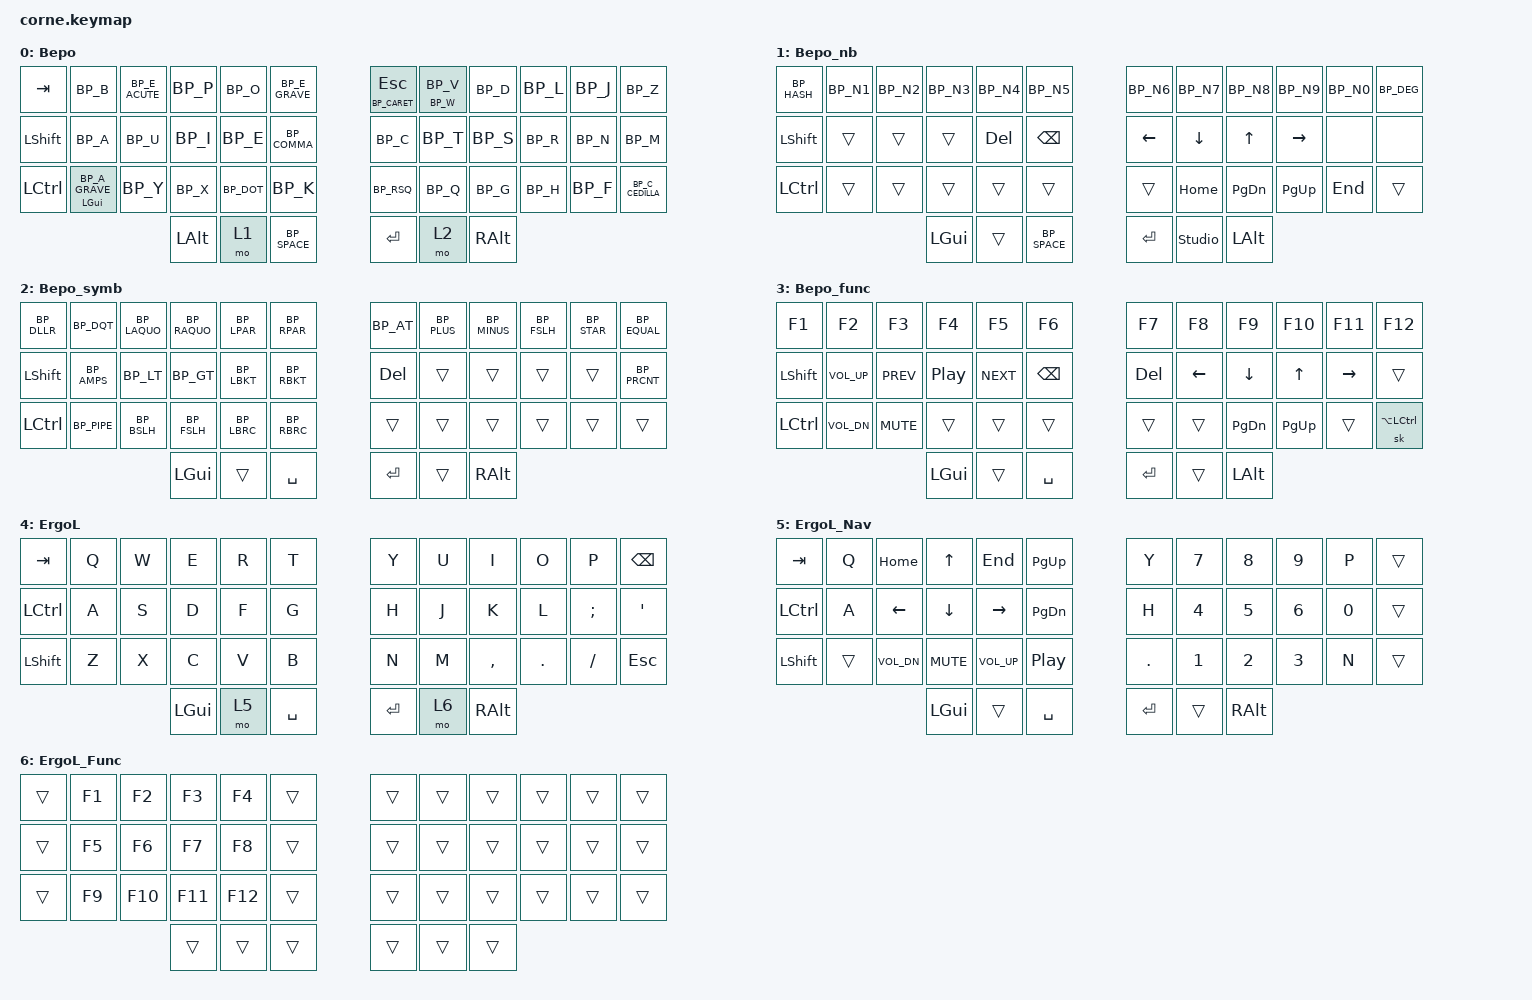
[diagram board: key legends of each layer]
/*
 * Copyright (c) 2020 The ZMK Contributors
 *
 * SPDX-License-Identifier: MIT
 */

#include <behaviors.dtsi>
#include <dt-bindings/zmk/keys.h>
#include <dt-bindings/zmk/bt.h>
#include "keys_fr_bepo.h"


/ {
    macros {
      ctrl_alt: ctrl_alt {
        compatible = "zmk,behavior-macro";
        #binding-cells = <0>;
        bindings
          = <&sk LCTRL &sk LALT>;
      };
    };

    combos {
        compatible = "zmk,combos";
        combo_ {
            timeout-ms = <50>;
            key-positions = <36 41>;
            bindings = <&tog 4>;
        };
    };

    behaviors {
      hm: homerow-mods {
        compatible = "zmk,behavior-hold-tap";
        #binding-cells = <2>;
        tapping-term-ms = <175>;
        flavor = "tap-preferred";
        quick-tap-ms = <125>;
        global-quick-tap;
        bindings = <&kp>,<&kp>;
      };

      slt: spacebar_layer_tap {
        compatible = "zmk,behavior-hold-tap";
        #binding-cells = <2>;
        flavor = "balanced";
        tapping-term-ms = <175>;
        require-prior-idle-ms = <100>;
        bindings = <&mo>, <&kp>;
      };


        mhm: lgui_mods {
            compatible = "zmk,behavior-hold-tap";
            #binding-cells = <2>;
            flavor = "balanced";
            tapping-term-ms = <200>;
            quick-tap-ms = <200>; // Double tapping -> hold key
            require-prior-idle-ms = <100>;  
            bindings = <&kp>, <&kp>;
        };
    };

    conditional-layers {
      compatible = "zmk,conditional-layers";
      tri_layer {
        if-layers = <1 2>;
        then-layer = <3>;
      };
    };

    keymap {
      compatible = "zmk,keymap";

      Bepo {
// ╭──────┬─────┬─────┬─────┬─────┬─────╮   ╭─────┬─────┬─────┬─────┬─────┬─────╮
// │  TAB │  B  │  É  │  P  │  O  │  È  │   │^ ESC│ V W │  D  │  L  │  J  │  Z  │
// ├──────┼─────┼─────┼─────┼─────┼─────┤   ├─────┼─────┼─────┼─────┼─────┼─────┤
// │ SHFT │  A  │  U  │  I  │  E  │  ,  │   │  C  │  T  │  S  │  R  │  N  │  M  │
// ├──────┼─────┼─────┼─────┼─────┼─────┤   ├─────┼─────┼─────┼─────┼─────┼─────┤
// │ CTRL │  À  │  Y  │  X  │  .  │  K  │   │  '  │  Q  │  G  │  H  │  F  │  Ç  │
// ╰──────┴─────┴─────┼─────┼─────┼─────┤   ├─────┼─────┼─────┼─────┴─────┴─────╯
//                    │LALT │LGUI │ SPC │   │ ENT │ RSE │RALT │
//                    ╰─────┴─────┴─────╯   ╰─────┴─────┴─────╯
         bindings = <
   &kp TAB   &kp BP_B             &kp BP_E_ACUTE &kp BP_P &kp BP_O     &kp BP_E_GRAVE     &mt BP_CARET ESC &hm BP_W BP_V &kp BP_D &kp BP_L &kp BP_J &kp BP_Z
   &kp LSHFT &kp BP_A             &kp BP_U       &kp BP_I &kp BP_E     &kp BP_COMMA       &kp BP_C         &kp BP_T      &kp BP_S &kp BP_R &kp BP_N &kp BP_M
   &kp LCTRL &mhm LGUI BP_A_GRAVE &kp BP_Y       &kp BP_X &kp BP_DOT   &kp BP_K           &kp BP_RSQ       &kp BP_Q      &kp BP_G &kp BP_H &kp BP_F &kp BP_C_CEDILLA
                                                 &kp LALT &mo 1        &kp BP_SPACE       &kp RET          &mo 2         &kp RALT
         >;
      };

      Bepo_nb{
// ╭──────┬─────┬─────┬─────┬─────┬─────╮   ╭─────┬─────┬─────┬─────┬─────┬─────╮
// │  #   │  1  │  2  │  3  │  4  │  5  │   │  6  │  7  │  8  │  9  │  0  │  °  │
// ├──────┼─────┼─────┼─────┼─────┼─────┤   ├─────┼─────┼─────┼─────┼─────┼─────┤
// │ SHFT │     │     │     │ DEL │ BKSP│   │LEFT │DOWN │ UP  │ RGT │  `  │     │
// ├──────┼─────┼─────┼─────┼─────┼─────┤   ├─────┼─────┼─────┼─────┼─────┼─────┤
// │ CTRL │     │     │     │     │     │   │     │HOME │ PDN │ PUP │ END │     │
// ╰──────┴─────┴─────┼─────┼─────┼─────┤   ├─────┼─────┼─────┼─────┴─────┴─────╯
//                    │ GUI │     │ SPC │   │ ENT │     │LALT │
//                    ╰─────┴─────┴─────╯   ╰─────┴─────┴─────╯
        bindings = <
   &kp BP_HASH &kp BP_N1 &kp BP_N2 &kp BP_N3 &kp BP_N4  &kp BP_N5        &kp BP_N6 &kp BP_N7 &kp BP_N8 &kp BP_N9 &kp BP_N0 &kp BP_DEG
   &kp LSHFT   &trans    &trans    &trans    &kp DEL    &kp BSPC         &kp LEFT  &kp DOWN  &kp UP    &kp RIGHT &none     &none
   &kp LCTRL   &trans    &trans    &trans    &trans     &trans           &trans    &kp HOME  &kp PG_DN &kp PG_UP &kp END   &trans
                                 &kp LGUI    &trans     &kp BP_SPACE     &kp RET   &studio_unlock  &kp LALT
        >;
      };

      Bepo_symb{
// ╭──────┬─────┬─────┬─────┬─────┬─────╮   ╭─────┬─────┬─────┬─────┬─────┬─────╮
// │  $   │  "  │  «  │  »  │  (  │  )  │   │  @  │  +  │  -  │  /  │  *  │  =  │
// ├──────┼─────┼─────┼─────┼─────┼─────┤   ├─────┼─────┼─────┼─────┼─────┼─────┤
// │ SHFT │  &  │  <  │  >  │  [  │  ]  │   │ DEL │     │     │     │     │  %  │
// ├──────┼─────┼─────┼─────┼─────┼─────┤   ├─────┼─────┼─────┼─────┼─────┼─────┤
// │ CTRL │  |  │  \  │  /  │  {  │  }  │   │     │     │     │     │     │     │
// ╰──────┴─────┴─────┼─────┼─────┼─────┤   ├─────┼─────┼─────┼─────┴─────┴─────╯
//                    │LGUI │     │ SPC │   │ ENT │     │ ALT │
//                    ╰─────┴─────┴─────╯   ╰─────┴─────┴─────╯
        bindings = <
   &kp BP_DLLR &kp BP_DQT  &kp BP_LAQUO &kp BP_RAQUO &kp BP_LPAR &kp BP_RPAR    &kp BP_AT &kp BP_PLUS &kp BP_MINUS &kp BP_FSLH &kp BP_STAR &kp BP_EQUAL
   &kp LSHFT   &kp BP_AMPS &kp BP_LT    &kp BP_GT    &kp BP_LBKT &kp BP_RBKT    &kp DEL   &trans      &trans       &trans      &trans      &kp BP_PRCNT
   &kp LCTRL   &kp BP_PIPE &kp BP_BSLH  &kp BP_FSLH  &kp BP_LBRC &kp BP_RBRC    &trans    &trans      &trans       &trans      &trans      &trans
                                        &kp LGUI     &trans      &kp SPACE      &kp RET   &trans      &kp RALT
        >;
      };

      Bepo_func{
// ╭──────┬─────┬─────┬─────┬─────┬─────╮   ╭─────┬─────┬─────┬─────┬─────┬─────╮
// │  F1  │  F2 │  F3 │  F4 │ F5  │  F6 │   │  F7 │  F8 │  F9 │ F10 │ F11 │ F12 │
// ├──────┼─────┼─────┼─────┼─────┼─────┤   ├─────┼─────┼─────┼─────┼─────┼─────┤
// │ SHFT │v up │prev │pause│next │ BKSP│   │ DEL │LEFT │DOWN │ UP  │ RGT │     │
// ├──────┼─────┼─────┼─────┼─────┼─────┤   ├─────┼─────┼─────┼─────┼─────┼─────┤
// │ CTRL │v dn │mute │     │     │     │   │     │     │ PDN │ PUP │     │CALT │
// ╰──────┴─────┴─────┼─────┼─────┼─────┤   ├─────┼─────┼─────┼─────┴─────┴─────╯
//                    │LGUI │     │ SPC │   │ ENT │     │ ALT │
//                    ╰─────┴─────┴─────╯   ╰─────┴─────┴─────╯
        bindings = <
   &kp F1    &kp F2       &kp F3     &kp F4   &kp F5     &kp F6        &kp F7  &kp F8   &kp F9    &kp F10   &kp F11   &kp F12
   &kp LSHFT &kp C_VOL_UP &kp C_PREV &kp C_PP &kp C_NEXT &kp BSPC      &kp DEL &kp LEFT &kp DOWN  &kp UP    &kp RIGHT &trans
   &kp LCTRL &kp C_VOL_DN &kp C_MUTE &trans   &trans     &trans        &trans  &trans   &kp PG_DN &kp PG_UP &trans    &sk LA(LCTRL)
                                     &kp LGUI &trans     &kp SPACE     &kp RET &trans   &kp LALT
        >;
    };

    ErgoL {
// ╭──────┬─────┬─────┬─────┬─────┬─────╮   ╭─────┬─────┬─────┬─────┬─────┬─────╮
// │ TAB  │  Q  │  C  │  O  │  P  │  W  │   │  J  │  M  │  D  │  !  │  Y  │BSPC │
// ├──────┼─────┼─────┼─────┼─────┼─────┤   ├─────┼─────┼─────┼─────┼─────┼─────┤
// │ ESC  │  A  │  S  │  E  │  N  │  F  │   │  L  │  R  │  T  │  I  │  U  │ ENT │
// ├──────┼─────┼─────┼─────┼─────┼─────┤   ├─────┼─────┼─────┼─────┼─────┼─────┤
// │ SHFT │  Z  │  X  │  ?  │  V  │  B  │   │  :  │  H  │  G  │  ;  │  K  │SHFT │
// ╰──────┴─────┴─────┼─────┼─────┼─────┤   ├─────┼─────┼─────┼─────┴─────┴─────╯
//                    │LALT │ CTRL│LGUI │   │     │ SPC │RALT │
//                    ╰─────┴─────┴─────╯   ╰─────┴─────┴─────╯
      bindings = <
   &kp TAB   &kp Q &kp W &kp E    &kp R &kp T          &kp Y   &kp U  &kp I     &kp O   &kp P    &kp BSPC
   &kp LCTRL &kp A &kp S &kp D    &kp F &kp G          &kp H   &kp J  &kp K     &kp L   &kp SEMI &kp SQT
   &kp LSHFT &kp Z &kp X &kp C    &kp V &kp B          &kp N   &kp M  &kp COMMA &kp DOT &kp FSLH &kp ESC
                         &kp LGUI &mo 5 &kp SPACE      &kp RET &mo 6  &kp RALT
        >;
    };

    ErgoL_Nav {
// ╭──────┬─────┬─────┬─────┬─────┬─────╮   ╭─────┬─────┬─────┬─────┬─────┬─────╮
// │      │     │HOME │ UP  │ END │PGUP │   │  Y  │  7  │  8  │  9  │     │     │
// ├──────┼─────┼─────┼─────┼─────┼─────┤   ├─────┼─────┼─────┼─────┼─────┼─────┤
// │      │     │LEFT │DOWN │RIGHT│PGDN │   │  H  │  4  │  5  │  6  │  0  │     │
// ├──────┼─────┼─────┼─────┼─────┼─────┤   ├─────┼─────┼─────┼─────┼─────┼─────┤
// │      │     │VOL- │MUTE │VOL+ │PL-P │   │  ,  │  1  │  2  │  3  │  .  │     │
// ╰──────┴─────┴─────┼─────┼─────┼─────┤   ├─────┼─────┼─────┼─────┴─────┴─────╯
//                    │ GUI │     │ SPC │   │ ENT │     │ ALT │
//                    ╰─────┴─────┴─────╯   ╰─────┴─────┴─────╯
      bindings = <
   &kp TAB   &kp Q  &kp HOME     &kp UP     &kp END      &kp PG_UP      &kp Y   &kp N7 &kp N8 &kp N9 &kp P   &trans
   &kp LCTRL &kp A  &kp LEFT     &kp DOWN   &kp RIGHT    &kp PG_DN      &kp H   &kp N4 &kp N5 &kp N6 &kp N0  &trans
   &kp LSHFT &trans &kp C_VOL_DN &kp C_MUTE &kp C_VOL_UP &kp C_PP       &kp DOT &kp N1 &kp N2 &kp N3 &kp N   &trans
                                 &kp LGUI   &trans       &kp SPACE      &kp RET &trans &kp RALT
        >;
    };

    ErgoL_Func {
// ╭──────┬─────┬─────┬─────┬─────┬─────╮   ╭─────┬─────┬─────┬─────┬─────┬─────╮
// │      │ F1  │ F2  │ F3  │ F4  │     │   │     │     │     │     │     │     │
// ├──────┼─────┼─────┼─────┼─────┼─────┤   ├─────┼─────┼─────┼─────┼─────┼─────┤
// │      │ F5  │ F6  │ F7  │ F8  │     │   │     │     │     │     │     │     │
// ├──────┼─────┼─────┼─────┼─────┼─────┤   ├─────┼─────┼─────┼─────┼─────┼─────┤
// │      │ F9  │ F10 │ F11 │ F12 │     │   │     │     │     │     │     │     │
// ╰──────┴─────┴─────┼─────┼─────┼─────┤   ├─────┼─────┼─────┼─────┴─────┴─────╯
//                    │ GUI │     │ SPC │   │ ENT │     │ ALT │
//                    ╰─────┴─────┴─────╯   ╰─────┴─────┴─────╯
      bindings = <
   &trans &kp F1 &kp F2  &kp F3  &kp F4  &trans    &trans &trans &trans &trans &trans &trans
   &trans &kp F5 &kp F6  &kp F7  &kp F8  &trans    &trans &trans &trans &trans &trans &trans
   &trans &kp F9 &kp F10 &kp F11 &kp F12 &trans    &trans &trans &trans &trans &trans &trans
                         &trans  &trans  &trans    &trans &trans &trans

        >;
    };
  };
};
